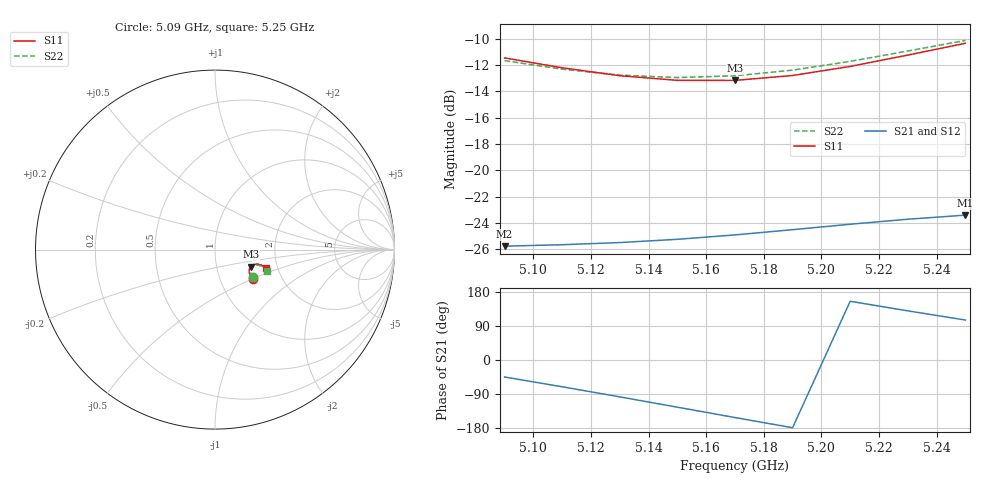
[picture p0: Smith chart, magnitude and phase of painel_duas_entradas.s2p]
! Created with skrf 2.0.1 (http://scikit-rf.org).
# Hz S RI R 50.0
! Port[1] = A_IN
! Port[2] = B_IN
!freq ReS11 ImS11 ReS21 ImS21 ReS12 ImS12 ReS22 ImS22
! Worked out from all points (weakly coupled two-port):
!   9 points, 5.09 GHz to 5.25 GHz, reference 50 ohm
!   highest |S21| = -23.40 dB at 5.25 GHz (marker M1); lowest = -25.8 dB at 5.09 GHz (marker M2)
!   lowest |S11| = -13.2 dB at 5.17 GHz (marker M3), VSWR 1.56, Z = 73.1 - j14.5 ohm
!   |S11| at or under -10 dB: start of sweep to end of sweep
!   |S22| runs from -12.9 to -10.1 dB; largest |S21 - S12| = 7e-17
5.09e9  0.2114 -0.1641  0.0365 -0.0364  0.0365 -0.0364  0.2111 -0.154
5.11e9  0.197 -0.1465  0.0173 -0.0492  0.0173 -0.0492  0.2002 -0.137
5.13e9  0.1901 -0.1278  -0.00677 -0.0527  -0.00677 -0.0527  0.1964 -0.1201
5.15e9  0.1906 -0.1098  -0.031 -0.0451  -0.031 -0.0451  0.1994 -0.105
5.17e9  0.1986 -0.0943  -0.0501 -0.0268  -0.0501 -0.0268  0.209 -0.0932
5.19e9  0.2138 -0.0835  -0.0595 -0.00125  -0.0595 -0.00125  0.2244 -0.0866
5.21e9  0.2352 -0.0801  -0.0566 0.0264  -0.0566 0.0264  0.2445 -0.0874
5.23e9  0.2603 -0.0867  -0.0417 0.0502  -0.0417 0.0502  0.267 -0.0977
5.25e9  0.2856 -0.105  -0.018 0.0652  -0.018 0.0652  0.2884 -0.1186
